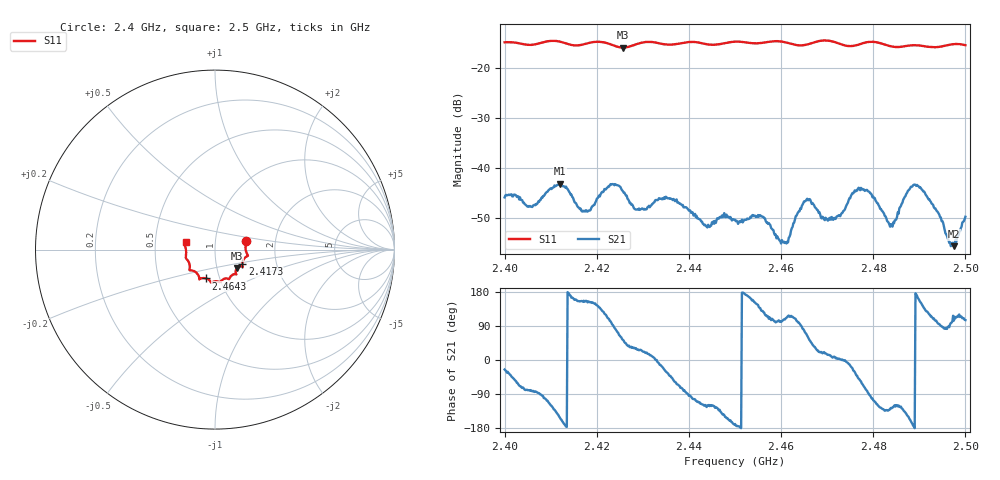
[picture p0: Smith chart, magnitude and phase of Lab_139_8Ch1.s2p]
# Hz S RI R 50
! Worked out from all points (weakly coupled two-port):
!   601 points, 2.4 GHz to 2.5 GHz, reference 50 ohm
!   highest |S21| = -43.09 dB at 2.412 GHz (marker M1); lowest = -55.5 dB at 2.4975 GHz (marker M2)
!   lowest |S11| = -15.9 dB at 2.4257 GHz (marker M3), VSWR 1.38, Z = 62.4 - j13.1 ohm
!   |S11| at or under -10 dB: start of sweep to end of sweep
!   S12 and S22 are empty: the file has one direction only
!   S11 on the Smith chart (normalised r, x): 2.4 GHz: 1.41, +0.14; 2.4173 GHz: 1.34, -0.23; 2.4643 GHz: 0.86, -0.28; 2.5 GHz: 0.72, +0.06
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2.4e9  0.1733 0.0496  0.00465 -0.00217  0 0  0 0
2.405833e9  0.1701 0.00291  0.000612 -0.00409  0 0  0 0
2.412e9  0.1796 -0.0365  -0.0062 -0.00326  0 0  0 0
2.416667e9  0.1527 -0.0748  -0.00344 0.00155  0 0  0 0
2.417333e9  0.1523 -0.0822  -0.00337 0.00167  0 0  0 0
2.423e9  0.1447 -0.0932  -0.00144 0.00681  0 0  0 0
2.425667e9  0.1225 -0.1024  0.00355 0.00474  0 0  0 0
2.4285e9  0.1153 -0.1279  0.00331 0.00201  0 0  0 0
2.433333e9  0.1129 -0.1366  0.00483 -0.000582  0 0  0 0
2.436833e9  0.0885 -0.148  0.00266 -0.00403  0 0  0 0
2.444e9  0.0629 -0.1604  -0.00128 -0.00223  0 0  0 0
2.45e9  0.0297 -0.1807  -0.00301 -0.000595  0 0  0 0
2.455833e9  -0.00542 -0.1779  -0.00211 0.00256  0 0  0 0
2.461e9  -0.0256 -0.1782  -0.000624 0.00171  0 0  0 0
2.464333e9  -0.0501 -0.1604  -1.26e-05 0.00393  0 0  0 0
2.466667e9  -0.0763 -0.1598  0.00318 0.00306  0 0  0 0
2.471333e9  -0.0869 -0.1611  0.00304 0.000393  0 0  0 0
2.478167e9  -0.1362 -0.116  0.00174 -0.00569  0 0  0 0
2.483333e9  -0.1406 -0.0896  -0.00192 -0.00214  0 0  0 0
2.489333e9  -0.1627 -0.0447  -0.00662 0.000866  0 0  0 0
2.4975e9  -0.1708 0.0287  -0.000404 0.00162  0 0  0 0
2.5e9  -0.1636 0.0418  -0.000867 0.00317  0 0  0 0
